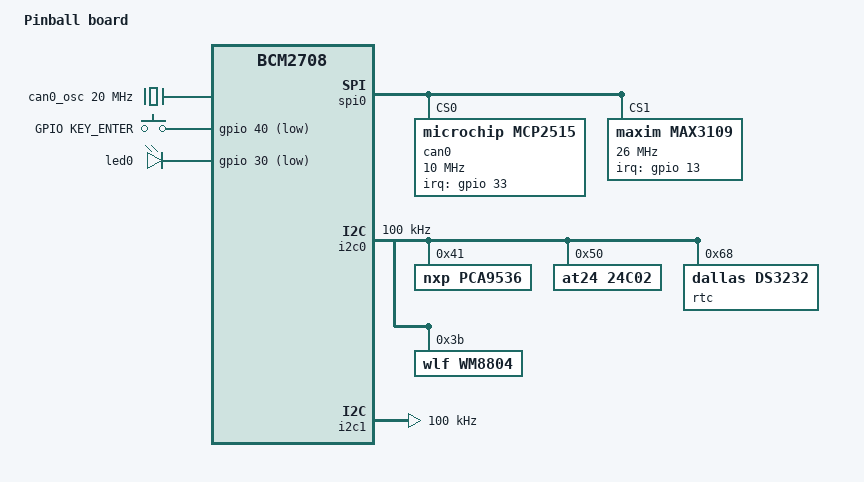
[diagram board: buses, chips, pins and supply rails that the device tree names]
/*
 * Copyright 2015 Calao-systems
 *
 * The code contained herein is licensed under the GNU General Public
 * License. You may obtain a copy of the GNU General Public License
 * Version 2 or later at the following locations:
 *
 * http://www.opensource.org/licenses/gpl-license.html
 * http://www.gnu.org/copyleft/gpl.html
 */

/*
 * Pinball board is manufactured by calao-systems.
 * More info at : http://www.pinballboard.org/
 */

/dts-v1/;

/include/ "bcm2708.dtsi"

/ {
	compatible = "brcm,bcm2708";
	model = "Pinball board";

	clocks {
		can0_osc: can0_osc {
			compatible = "fixed-clock";
			#clock-cells = <0>;
			clock-frequency = <20000000>;
		};

		duart_clk: duart_clk {
			compatible = "fixed-clock";
			#clock-cells = <0>;
			clock-frequency = <14745600>;
		};
	};

	aliases {
		soc = &soc;
		spi0 = &spi0;
		i2c0 = &i2c0;
		i2c1 = &i2c1;
		i2s  = &i2s;
		gpio = &gpio;
		intc = &intc;
		leds = &leds;
		sound = &sound;
	};

	sound: sound {
		compatible = "hifiberry,hifiberry-digi";
		i2s-controller = <&i2s>;
	};

	gpio_keys: gpio_keys {
		compatible = "gpio-keys";
		#address-cells = <1>;
		#size-cells = <0>;
		pinctrl-names = "default";
		pinctrl-0 = <&button1>;

		button@40 {
			label = "GPIO KEY_ENTER";
			linux,code = <28>;
			gpios = <&gpio 40 1>;
			gpio-key,wakeup;
		};
	};

};

&gpio {

	pinctrl-names = "default";
	pinctrl-0 = <&uart0 &uart1>;

	uart0: uart0 {
		brcm,pins = <36 37>;
		brcm,function = <6>; /* alt2 */
	};

	uart1: uart1 {
		brcm,pins = <14 15>;
		brcm,function = <2>; /* alt5 */
	};

	spi0_pins: spi0_pins {
		brcm,pins = <7 8 9 10 11>;
		brcm,function = <4>; /* alt0 */
	};

	i2c0_pins: i2c0 {
		brcm,pins = <0 1>;
		brcm,function = <4>;
	};

	i2c1_pins: i2c1 {
		brcm,pins = <2 3>;
		brcm,function = <4>;
	};

	i2s_pins: i2s {
		brcm,pins = <28 29 31>;
		brcm,function = <6>; /* alt2 */
	};

	button1: button1 {
		brcm,pins = <40>;
		brcm,function = <0>; /* in */
		brcm,pull = <2>; /* up */
	};

};

&spi0 {
	pinctrl-names = "default";
	pinctrl-0 = <&spi0_pins>;

	can0: mcp2515@0 {
		compatible = "microchip,mcp2515";
		reg = <0>;
		clocks = <&can0_osc>;
		irq-gpio = <&gpio 33 0x2>;
		interrupts = <33 2>;
		interrupt-parent = <&gpio>;
		interrupt-controller;
		spi-max-frequency = <10000000>;
	};

	max3109: max3109@1 {
		compatible = "maxim,max3109";
		reg = <1>;
		clocks = <&duart_clk>;
		clock-names = "osc";
		irq-gpio = <&gpio 13 0x2>;
		interrupts = <13 2>;
		interrupt-parent = <&gpio>;
		interrupt-controller;
		gpio-controller;
		#gpio-cells = <2>;
		spi-max-frequency = <26000000>;
	};
};

&i2c0 {
	pinctrl-names = "default";
	pinctrl-0 = <&i2c0_pins>;
	clock-frequency = <100000>;

	pca9536@41 {
		compatible = "nxp,pca9536";
		reg = <0x41>;
		gpio-controller;
		#gpio-cells = <2>;
	};

	at24@50 {
		compatible = "at24,24c02";
		pagesize = <16>;
		reg = <0x50>;
	};

	rtc@68 {
		compatible = "dallas,ds3232";
		reg = <0x68>;
	};

	wm8804@3b {
		#sound-dai-cells = <0>;
		compatible = "wlf,wm8804";
		reg = <0x3b>;
	};
};

&i2c1 {
	pinctrl-names = "default";
	pinctrl-0 = <&i2c1_pins>;
	clock-frequency = <100000>;
};

&i2s {
	#sound-dai-cells = <0>;
	pinctrl-names = "default";
	pinctrl-0 = <&i2s_pins>;
};

&leds {
	act_led: act {
		label = "led0";
		linux,default-trigger = "heartbeat";
		gpios = <&gpio 30 1>;
	};
};

/ {
	__overrides__ {
		i2s = <&i2s>,"status";
		spi = <&spi0>,"status";
		i2c0 = <&i2c0>,"status";
		i2c1 = <&i2c1>,"status";
		i2c0_baudrate = <&i2c0>,"clock-frequency:0";
		i2c1_baudrate = <&i2c1>,"clock-frequency:0";

		act_led_gpio = <&act_led>,"gpios:4";
		act_led_activelow = <&act_led>,"gpios:8";
		act_led_trigger = <&act_led>,"linux,default-trigger";
	};
};
